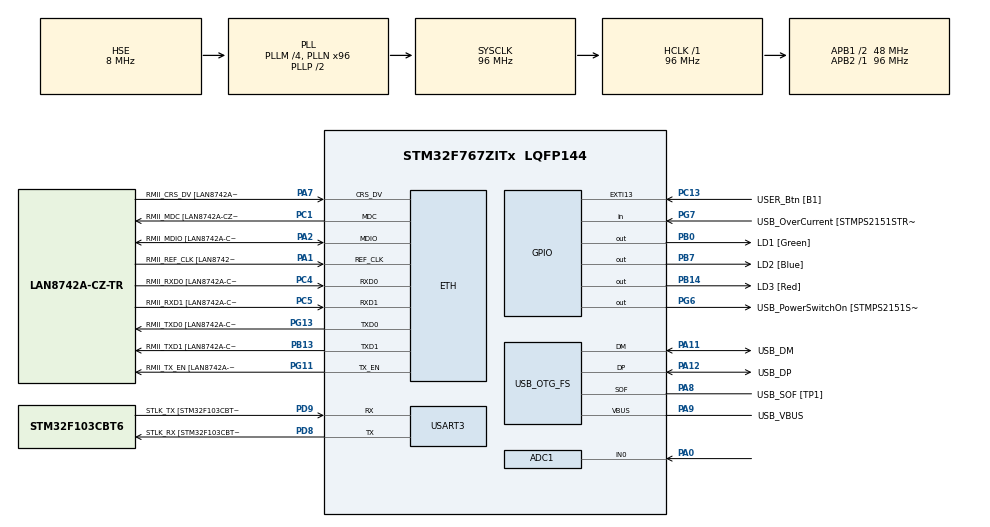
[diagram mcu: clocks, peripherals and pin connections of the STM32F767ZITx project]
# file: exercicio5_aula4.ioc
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ADC1.Channel-0\#ChannelRegularConversion=ADC_CHANNEL_0
ADC1.NbrOfConversion=1
ADC1.NbrOfConversionFlag=1
ADC1.Rank-0\#ChannelRegularConversion=1
ADC1.SamplingTime-0\#ChannelRegularConversion=ADC_SAMPLETIME_3CYCLES
ADC1.master=1
ETH.MediaInterface=HAL_ETH_RMII_MODE
ETH.PHY_Name=LAN8742A_PHY_ADDRESS
ETH.PHY_Value=0
ETH.PhyAddress=0
FREERTOS.BinarySemaphores01=semCalc,Dynamic,NULL,Depleted;semStart,Dynamic,NULL,Available;semSend,Dynamic,NULL,Depleted
FREERTOS.Tasks01=TaskADC,24,128,TaskADCfun,Default,NULL,Dynamic,NULL,NULL;TaskCalc,24,128,TaskCalcfun,Default,NULL,Dynamic,NULL,NULL;TaskSend,24,128,TaskSendfun,Default,NULL,Dynamic,NULL,NULL
FREERTOS.configUSE_NEWLIB_REENTRANT=1
Mcu.Family=STM32F7
Mcu.Name=STM32F767ZITx
Mcu.Package=LQFP144
NVIC.EXTI15_10_IRQn=true\:5\:0\:false\:false\:true\:true\:true\:true\:true
NVIC.PriorityGroup=NVIC_PRIORITYGROUP_4
NVIC.TIM1_UP_TIM10_IRQn=true\:15\:0\:false\:false\:true\:false\:false\:true\:true
NVIC.TimeBase=TIM1_UP_TIM10_IRQn
NVIC.TimeBaseIP=TIM1
PA0/WKUP.Signal=ADCx_IN0
PA1.GPIO_Label=RMII_REF_CLK [LAN8742A-CZ-TR_REFCLK0]
PA1.Mode=RMII
PA1.Signal=ETH_REF_CLK
PA10.GPIO_Label=USB_ID
PA10.Signal=USB_OTG_FS_ID
PA11.GPIO_Label=USB_DM
PA11.Mode=Device_Only
PA11.Signal=USB_OTG_FS_DM
PA12.GPIO_Label=USB_DP
PA12.Mode=Device_Only
PA12.Signal=USB_OTG_FS_DP
PA13.GPIO_Label=TMS
PA13.Mode=Serial_Wire
PA13.Signal=SYS_JTMS-SWDIO
PA14.GPIO_Label=TCK
PA14.Mode=Serial_Wire
PA14.Signal=SYS_JTCK-SWCLK
PA2.GPIO_Label=RMII_MDIO [LAN8742A-CZ-TR_MDIO]
PA2.Mode=RMII
PA2.Signal=ETH_MDIO
PA7.GPIO_Label=RMII_CRS_DV [LAN8742A-CZ-TR_CRS_DV]
PA7.Mode=RMII
PA7.Signal=ETH_CRS_DV
PA8.GPIO_Label=USB_SOF [TP1]
PA8.Mode=Activate_SOF_FS
PA8.Signal=USB_OTG_FS_SOF
PA9.GPIO_Label=USB_VBUS
PA9.Mode=Activate_VBUS
PA9.Signal=USB_OTG_FS_VBUS
PB0.GPIO_Label=LD1 [Green]
PB0.Signal=GPIO_Output
PB13.GPIO_Label=RMII_TXD1 [LAN8742A-CZ-TR_TXD1]
PB13.Mode=RMII
PB13.Signal=ETH_TXD1
PB14.GPIO_Label=LD3 [Red]
PB14.Signal=GPIO_Output
PB3.GPIO_Label=SWO
PB3.Signal=SYS_JTDO-SWO
PB7.GPIO_Label=LD2 [Blue]
PB7.Signal=GPIO_Output
PC1.GPIO_Label=RMII_MDC [LAN8742A-CZ-TR_MDC]
PC1.Mode=RMII
PC1.Signal=ETH_MDC
PC13.GPIO_Label=USER_Btn [B1]
PC13.Signal=GPXTI13
PC14/OSC32_IN.Mode=LSE-External-Oscillator
PC14/OSC32_IN.Signal=RCC_OSC32_IN
PC15/OSC32_OUT.Mode=LSE-External-Oscillator
PC15/OSC32_OUT.Signal=RCC_OSC32_OUT
PC4.GPIO_Label=RMII_RXD0 [LAN8742A-CZ-TR_RXD0]
PC4.Mode=RMII
PC4.Signal=ETH_RXD0
PC5.GPIO_Label=RMII_RXD1 [LAN8742A-CZ-TR_RXD1]
PC5.Mode=RMII
PC5.Signal=ETH_RXD1
PD8.GPIO_Label=STLK_RX [STM32F103CBT6_PA3]
PD8.Mode=Asynchronous
PD8.Signal=USART3_TX
PD9.GPIO_Label=STLK_TX [STM32F103CBT6_PA2]
PD9.Mode=Asynchronous
PD9.Signal=USART3_RX
PG11.GPIO_Label=RMII_TX_EN [LAN8742A-CZ-TR_TXEN]
PG11.Mode=RMII
PG11.Signal=ETH_TX_EN
PG13.GPIO_Label=RMII_TXD0 [LAN8742A-CZ-TR_TXD0]
PG13.Mode=RMII
PG13.Signal=ETH_TXD0
PG6.GPIO_Label=USB_PowerSwitchOn [STMPS2151STR_EN]
PG6.Signal=GPIO_Output
PG7.GPIO_Label=USB_OverCurrent [STMPS2151STR_FAULT]
PG7.Signal=GPIO_Input
PH0/OSC_IN.GPIO_Label=MCO [STM32F103CBT6_PA8]
PH0/OSC_IN.Mode=HSE-External-Clock-Source
PH0/OSC_IN.Signal=RCC_OSC_IN
PH1/OSC_OUT.Mode=HSE-External-Clock-Source
PH1/OSC_OUT.Signal=RCC_OSC_OUT
ProjectManager.HeapSize=0x200
ProjectManager.StackSize=0x400
ProjectManager.TargetToolchain=STM32CubeIDE
RCC.48MHZClocksFreq_Value=24000000
RCC.AHBFreq_Value=96000000
RCC.APB1CLKDivider=RCC_HCLK_DIV2
RCC.APB1Freq_Value=48000000
RCC.APB1TimFreq_Value=96000000
RCC.APB2Freq_Value=96000000
RCC.APB2TimFreq_Value=96000000
RCC.CortexFreq_Value=96000000
RCC.HCLKFreq_Value=96000000
RCC.HSE_VALUE=8000000
RCC.HSI_VALUE=16000000
RCC.PLLM=4
RCC.PLLMUL=RCC_PLL_MUL9
RCC.PLLN=96
RCC.PLLQ=4
RCC.PRESCALERUSB=RCC_USBCLKSOURCE_PLL_DIV1_5
RCC.SYSCLKFreq_VALUE=96000000
RCC.SYSCLKSource=RCC_SYSCLKSOURCE_PLLCLK
RCC.SYSCLKSourceVirtual=RCC_SYSCLKSOURCE_PLLCLK
RCC.USBFreq_Value=48000000
RCC.VCOOutputFreq_Value=192000000
SH.ADCx_IN0.0=ADC1_IN0,IN0
USART3.VirtualMode-Asynchronous=VM_ASYNC
USB_OTG_FS.VirtualMode=Device_Only
VP_FREERTOS_VS_CMSIS_V2.Mode=CMSIS_V2
VP_SYS_VS_tim1.Mode=TIM1
board=NUCLEO-F767ZI

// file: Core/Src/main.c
/* USER CODE BEGIN Header */
/**
  ******************************************************************************
  * @file           : main.c
  * @brief          : Main program body
  ******************************************************************************
  * @attention
  *
  * Copyright (c) 2025 STMicroelectronics.
  * All rights reserved.
  *
  * This software is licensed under terms that can be found in the LICENSE file
  * in the root directory of this software component.
  * If no LICENSE file comes with this software, it is provided AS-IS.
  *
  ******************************************************************************
  */
/* USER CODE END Header */
#include "main.h"
#include "string.h"
#include "cmsis_os.h"

/* USER CODE BEGIN Includes */
#include <stdio.h>
#include <stdbool.h>
#include <stdlib.h>
/* USER CODE END Includes */

#if defined ( __ICCARM__ ) /*!< IAR Compiler */
#pragma location=0x2007c000
ETH_DMADescTypeDef  DMARxDscrTab[ETH_RX_DESC_CNT]; /* Ethernet Rx DMA Descriptors */
#pragma location=0x2007c0a0
ETH_DMADescTypeDef  DMATxDscrTab[ETH_TX_DESC_CNT]; /* Ethernet Tx DMA Descriptors */

#elif defined ( __CC_ARM )  /* MDK ARM Compiler */

__attribute__((at(0x2007c000))) ETH_DMADescTypeDef  DMARxDscrTab[ETH_RX_DESC_CNT]; /* Ethernet Rx DMA Descriptors */
__attribute__((at(0x2007c0a0))) ETH_DMADescTypeDef  DMATxDscrTab[ETH_TX_DESC_CNT]; /* Ethernet Tx DMA Descriptors */

#elif defined ( __GNUC__ ) /* GNU Compiler */

ETH_DMADescTypeDef DMARxDscrTab[ETH_RX_DESC_CNT] __attribute__((section(".RxDecripSection"))); /* Ethernet Rx DMA Descriptors */
ETH_DMADescTypeDef DMATxDscrTab[ETH_TX_DESC_CNT] __attribute__((section(".TxDecripSection")));   /* Ethernet Tx DMA Descriptors */
#endif

ETH_TxPacketConfig TxConfig;

ADC_HandleTypeDef hadc1;

ETH_HandleTypeDef heth;

UART_HandleTypeDef huart3;

PCD_HandleTypeDef hpcd_USB_OTG_FS;

/* Definitions for TaskADC */
osThreadId_t TaskADCHandle;
const osThreadAttr_t TaskADC_attributes = {
  .name = "TaskADC",
  .stack_size = 128 * 4,
  .priority = (osPriority_t) osPriorityNormal,
};
/* Definitions for TaskCalc */
osThreadId_t TaskCalcHandle;
const osThreadAttr_t TaskCalc_attributes = {
  .name = "TaskCalc",
  .stack_size = 128 * 4,
  .priority = (osPriority_t) osPriorityNormal,
};
/* Definitions for TaskSend */
osThreadId_t TaskSendHandle;
const osThreadAttr_t TaskSend_attributes = {
  .name = "TaskSend",
  .stack_size = 128 * 4,
  .priority = (osPriority_t) osPriorityNormal,
};
/* Definitions for semCalc */
osSemaphoreId_t semCalcHandle;
const osSemaphoreAttr_t semCalc_attributes = {
  .name = "semCalc"
};
/* Definitions for semStart */
osSemaphoreId_t semStartHandle;
const osSemaphoreAttr_t semStart_attributes = {
  .name = "semStart"
};
/* Definitions for semSend */
osSemaphoreId_t semSendHandle;
const osSemaphoreAttr_t semSend_attributes = {
  .name = "semSend"
};

void SystemClock_Config(void);
static void MX_GPIO_Init(void);
static void MX_ETH_Init(void);
static void MX_USART3_UART_Init(void);
static void MX_USB_OTG_FS_PCD_Init(void);
static void MX_ADC1_Init(void);
void TaskADCfun(void *argument);
void TaskCalcfun(void *argument);
void TaskSendfun(void *argument);

int main(void)
{

  /* MCU Configuration--------------------------------------------------------*/

  /* Reset of all peripherals, Initializes the Flash interface and the Systick. */
  HAL_Init();

  /* Configure the system clock */
  SystemClock_Config();

  /* Initialize all configured peripherals */
  MX_GPIO_Init();
  MX_ETH_Init();
  MX_USART3_UART_Init();
  MX_USB_OTG_FS_PCD_Init();
  MX_ADC1_Init();

  /* Init scheduler */
  osKernelInitialize();

  /* Create the semaphores(s) */
  /* creation of semCalc */
  semCalcHandle = osSemaphoreNew(1, 0, &semCalc_attributes);

  /* creation of semStart */
  semStartHandle = osSemaphoreNew(1, 1, &semStart_attributes);

  /* creation of semSend */
  semSendHandle = osSemaphoreNew(1, 0, &semSend_attributes);

  /* Create the thread(s) */
  /* creation of TaskADC */
  TaskADCHandle = osThreadNew(TaskADCfun, NULL, &TaskADC_attributes);

  /* creation of TaskCalc */
  TaskCalcHandle = osThreadNew(TaskCalcfun, NULL, &TaskCalc_attributes);

  /* creation of TaskSend */
  TaskSendHandle = osThreadNew(TaskSendfun, NULL, &TaskSend_attributes);

  /* Start scheduler */
  osKernelStart();

  /* We should never get here as control is now taken by the scheduler */

  /* Infinite loop */
  while (1)
  {

  }
}

void SystemClock_Config(void)
{
  RCC_OscInitTypeDef RCC_OscInitStruct = {0};
  RCC_ClkInitTypeDef RCC_ClkInitStruct = {0};

  /** Configure LSE Drive Capability
  */
  HAL_PWR_EnableBkUpAccess();

  /** Configure the main internal regulator output voltage
  */
  __HAL_RCC_PWR_CLK_ENABLE();
  __HAL_PWR_VOLTAGESCALING_CONFIG(PWR_REGULATOR_VOLTAGE_SCALE3);

  /** Initializes the RCC Oscillators according to the specified parameters
  * in the RCC_OscInitTypeDef structure.
  */
  RCC_OscInitStruct.OscillatorType = RCC_OSCILLATORTYPE_HSE;
  RCC_OscInitStruct.HSEState = RCC_HSE_BYPASS;
  RCC_OscInitStruct.PLL.PLLState = RCC_PLL_ON;
  RCC_OscInitStruct.PLL.PLLSource = RCC_PLLSOURCE_HSE;
  RCC_OscInitStruct.PLL.PLLM = 4;
  RCC_OscInitStruct.PLL.PLLN = 96;
  RCC_OscInitStruct.PLL.PLLP = RCC_PLLP_DIV2;
  RCC_OscInitStruct.PLL.PLLQ = 4;
  RCC_OscInitStruct.PLL.PLLR = 2;
  if (HAL_RCC_OscConfig(&RCC_OscInitStruct) != HAL_OK)
  {
    Error_Handler();
  }

  /** Activate the Over-Drive mode
  */
  if (HAL_PWREx_EnableOverDrive() != HAL_OK)
  {
    Error_Handler();
  }

  /** Initializes the CPU, AHB and APB buses clocks
  */
  RCC_ClkInitStruct.ClockType = RCC_CLOCKTYPE_HCLK|RCC_CLOCKTYPE_SYSCLK
                              |RCC_CLOCKTYPE_PCLK1|RCC_CLOCKTYPE_PCLK2;
  RCC_ClkInitStruct.SYSCLKSource = RCC_SYSCLKSOURCE_PLLCLK;
  RCC_ClkInitStruct.AHBCLKDivider = RCC_SYSCLK_DIV1;
  RCC_ClkInitStruct.APB1CLKDivider = RCC_HCLK_DIV2;
  RCC_ClkInitStruct.APB2CLKDivider = RCC_HCLK_DIV1;

  if (HAL_RCC_ClockConfig(&RCC_ClkInitStruct, FLASH_LATENCY_3) != HAL_OK)
  {
    Error_Handler();
  }
}

static void MX_ADC1_Init(void)
{

  ADC_ChannelConfTypeDef sConfig = {0};

  /** Configure the global features of the ADC (Clock, Resolution, Data Alignment and number of conversion)
  */
  hadc1.Instance = ADC1;
  hadc1.Init.ClockPrescaler = ADC_CLOCK_SYNC_PCLK_DIV4;
  hadc1.Init.Resolution = ADC_RESOLUTION_12B;
  hadc1.Init.ScanConvMode = ADC_SCAN_DISABLE;
  hadc1.Init.ContinuousConvMode = DISABLE;
  hadc1.Init.DiscontinuousConvMode = DISABLE;
  hadc1.Init.ExternalTrigConvEdge = ADC_EXTERNALTRIGCONVEDGE_NONE;
  hadc1.Init.ExternalTrigConv = ADC_SOFTWARE_START;
  hadc1.Init.DataAlign = ADC_DATAALIGN_RIGHT;
  hadc1.Init.NbrOfConversion = 1;
  hadc1.Init.DMAContinuousRequests = DISABLE;
  hadc1.Init.EOCSelection = ADC_EOC_SINGLE_CONV;
  if (HAL_ADC_Init(&hadc1) != HAL_OK)
  {
    Error_Handler();
  }

  /** Configure for the selected ADC regular channel its corresponding rank in the sequencer and its sample time.
  */
  sConfig.Channel = ADC_CHANNEL_0;
  sConfig.Rank = ADC_REGULAR_RANK_1;
  sConfig.SamplingTime = ADC_SAMPLETIME_3CYCLES;
  if (HAL_ADC_ConfigChannel(&hadc1, &sConfig) != HAL_OK)
  {
    Error_Handler();
  }

}

static void MX_ETH_Init(void)
{

   static uint8_t MACAddr[6];

  heth.Instance = ETH;
  MACAddr[0] = 0x00;
  MACAddr[1] = 0x80;
  MACAddr[2] = 0xE1;
  MACAddr[3] = 0x00;
  MACAddr[4] = 0x00;
  MACAddr[5] = 0x00;
  heth.Init.MACAddr = &MACAddr[0];
  heth.Init.MediaInterface = HAL_ETH_RMII_MODE;
  heth.Init.TxDesc = DMATxDscrTab;
  heth.Init.RxDesc = DMARxDscrTab;
  heth.Init.RxBuffLen = 1524;

  if (HAL_ETH_Init(&heth) != HAL_OK)
  {
    Error_Handler();
  }

  memset(&TxConfig, 0 , sizeof(ETH_TxPacketConfig));
  TxConfig.Attributes = ETH_TX_PACKETS_FEATURES_CSUM | ETH_TX_PACKETS_FEATURES_CRCPAD;
  TxConfig.ChecksumCtrl = ETH_CHECKSUM_IPHDR_PAYLOAD_INSERT_PHDR_CALC;
  TxConfig.CRCPadCtrl = ETH_CRC_PAD_INSERT;

}

static void MX_USART3_UART_Init(void)
{

  huart3.Instance = USART3;
  huart3.Init.BaudRate = 115200;
  huart3.Init.WordLength = UART_WORDLENGTH_8B;
  huart3.Init.StopBits = UART_STOPBITS_1;
  huart3.Init.Parity = UART_PARITY_NONE;
  huart3.Init.Mode = UART_MODE_TX_RX;
  huart3.Init.HwFlowCtl = UART_HWCONTROL_NONE;
  huart3.Init.OverSampling = UART_OVERSAMPLING_16;
  huart3.Init.OneBitSampling = UART_ONE_BIT_SAMPLE_DISABLE;
  huart3.AdvancedInit.AdvFeatureInit = UART_ADVFEATURE_NO_INIT;
  if (HAL_UART_Init(&huart3) != HAL_OK)
  {
    Error_Handler();
  }

}

static void MX_USB_OTG_FS_PCD_Init(void)
{

  hpcd_USB_OTG_FS.Instance = USB_OTG_FS;
  hpcd_USB_OTG_FS.Init.dev_endpoints = 6;
  hpcd_USB_OTG_FS.Init.speed = PCD_SPEED_FULL;
  hpcd_USB_OTG_FS.Init.dma_enable = DISABLE;
  hpcd_USB_OTG_FS.Init.phy_itface = PCD_PHY_EMBEDDED;
  hpcd_USB_OTG_FS.Init.Sof_enable = ENABLE;
  hpcd_USB_OTG_FS.Init.low_power_enable = DISABLE;
  hpcd_USB_OTG_FS.Init.lpm_enable = DISABLE;
  hpcd_USB_OTG_FS.Init.vbus_sensing_enable = ENABLE;
  hpcd_USB_OTG_FS.Init.use_dedicated_ep1 = DISABLE;
  if (HAL_PCD_Init(&hpcd_USB_OTG_FS) != HAL_OK)
  {
    Error_Handler();
  }

}

static void MX_GPIO_Init(void)
{
  GPIO_InitTypeDef GPIO_InitStruct = {0};

  /* GPIO Ports Clock Enable */
  __HAL_RCC_GPIOC_CLK_ENABLE();
  __HAL_RCC_GPIOH_CLK_ENABLE();
  __HAL_RCC_GPIOA_CLK_ENABLE();
  __HAL_RCC_GPIOB_CLK_ENABLE();
  __HAL_RCC_GPIOD_CLK_ENABLE();
  __HAL_RCC_GPIOG_CLK_ENABLE();

  /*Configure GPIO pin Output Level */
  HAL_GPIO_WritePin(GPIOB, LD1_Pin|LD3_Pin|LD2_Pin, GPIO_PIN_RESET);

  /*Configure GPIO pin Output Level */
  HAL_GPIO_WritePin(USB_PowerSwitchOn_GPIO_Port, USB_PowerSwitchOn_Pin, GPIO_PIN_RESET);

  /*Configure GPIO pin : USER_Btn_Pin */
  GPIO_InitStruct.Pin = USER_Btn_Pin;
  GPIO_InitStruct.Mode = GPIO_MODE_IT_RISING;
  GPIO_InitStruct.Pull = GPIO_NOPULL;
  HAL_GPIO_Init(USER_Btn_GPIO_Port, &GPIO_InitStruct);

  /*Configure GPIO pins : LD1_Pin LD3_Pin LD2_Pin */
  GPIO_InitStruct.Pin = LD1_Pin|LD3_Pin|LD2_Pin;
  GPIO_InitStruct.Mode = GPIO_MODE_OUTPUT_PP;
  GPIO_InitStruct.Pull = GPIO_NOPULL;
  GPIO_InitStruct.Speed = GPIO_SPEED_FREQ_LOW;
  HAL_GPIO_Init(GPIOB, &GPIO_InitStruct);

  /*Configure GPIO pin : USB_PowerSwitchOn_Pin */
  GPIO_InitStruct.Pin = USB_PowerSwitchOn_Pin;
  GPIO_InitStruct.Mode = GPIO_MODE_OUTPUT_PP;
  GPIO_InitStruct.Pull = GPIO_NOPULL;
  GPIO_InitStruct.Speed = GPIO_SPEED_FREQ_LOW;
  HAL_GPIO_Init(USB_PowerSwitchOn_GPIO_Port, &GPIO_InitStruct);

  /*Configure GPIO pin : USB_OverCurrent_Pin */
  GPIO_InitStruct.Pin = USB_OverCurrent_Pin;
  GPIO_InitStruct.Mode = GPIO_MODE_INPUT;
  GPIO_InitStruct.Pull = GPIO_NOPULL;
  HAL_GPIO_Init(USB_OverCurrent_GPIO_Port, &GPIO_InitStruct);

  /* EXTI interrupt init*/
  HAL_NVIC_SetPriority(EXTI15_10_IRQn, 5, 0);
  HAL_NVIC_EnableIRQ(EXTI15_10_IRQn);

}

/* USER CODE BEGIN 4 */
uint16_t bufferADC[100];
float mediaADC;
uint8_t envio_contador = 0;
bool processo_ativo = true;

void HAL_GPIO_EXTI_Callback(uint16_t GPIO_Pin){

	if (GPIO_Pin == GPIO_PIN_13) {
		char *str1 = "Botao pressionado. Reiniciando processo.\r\n";

		HAL_UART_Transmit(&huart3, (uint8_t*) str1, strlen(str1), 100);

		envio_contador = 0;
		processo_ativo = true;
		osSemaphoreRelease(semStartHandle);

	}

}

/* USER CODE END 4 */

void TaskADCfun(void *argument)
{
  /* USER CODE BEGIN 5 */
  /* Infinite loop */
  for(;;)
  {

	osSemaphoreAcquire(semStartHandle, osWaitForever);

	for (int i = 0; i < 100; ++i) {
		//HAL_ADC_Start(&hadc1);
		//HAL_ADC_PollForConversion(&hadc1, HAL_MAX_DELAY);
		//bufferADC[i] = HAL_ADC_GetValue(&hadc1);
		bufferADC[i] = rand() % 4096;  // simulado
		osDelay(10);//tempo de requisição do ADC
	}
    osSemaphoreRelease(semCalcHandle);

  }
  /* USER CODE END 5 */
}

void TaskCalcfun(void *argument)
{
  /* USER CODE BEGIN TaskCalcfun */
  /* Infinite loop */
  for(;;)
  {

	osSemaphoreAcquire(semCalcHandle, osWaitForever);
	uint32_t soma = 0;

	for (int i = 0; i < 100; ++i) {
		soma += bufferADC[i];
	}

	mediaADC = soma / 100.00;
	osSemaphoreRelease(semSendHandle);

  }
  /* USER CODE END TaskCalcfun */
}

void TaskSendfun(void *argument)
{
  /* USER CODE BEGIN TaskSendfun */
  /* Infinite loop */

  char msg [64];

  for(;;)
  {

	osSemaphoreAcquire(semSendHandle,osWaitForever);

    int parte_inteira = (int)mediaADC;
    int parte_decimal = (int)((mediaADC - parte_inteira) * 100);  // 2 casas decimais

    sprintf(msg, "Media enviada: %d.%02d\r\n", parte_inteira, parte_decimal);
    HAL_UART_Transmit(&huart3, (uint8_t*)msg, strlen(msg), HAL_MAX_DELAY);

	envio_contador++;

    if (envio_contador >= 10)
    {
      HAL_UART_Transmit(&huart3, (uint8_t*)"Processo concluido. Aguardando botao...\r\n", 41, HAL_MAX_DELAY);
      processo_ativo = false;
    }
    else
    {
        osSemaphoreRelease(semStartHandle); // inicia novo ciclo
    }

  }
  /* USER CODE END TaskSendfun */
}

void HAL_TIM_PeriodElapsedCallback(TIM_HandleTypeDef *htim)
{
  if (htim->Instance == TIM1)
  {
    HAL_IncTick();
  }
}

void Error_Handler(void)
{
  __disable_irq();
  while (1)
  {
  }
}
